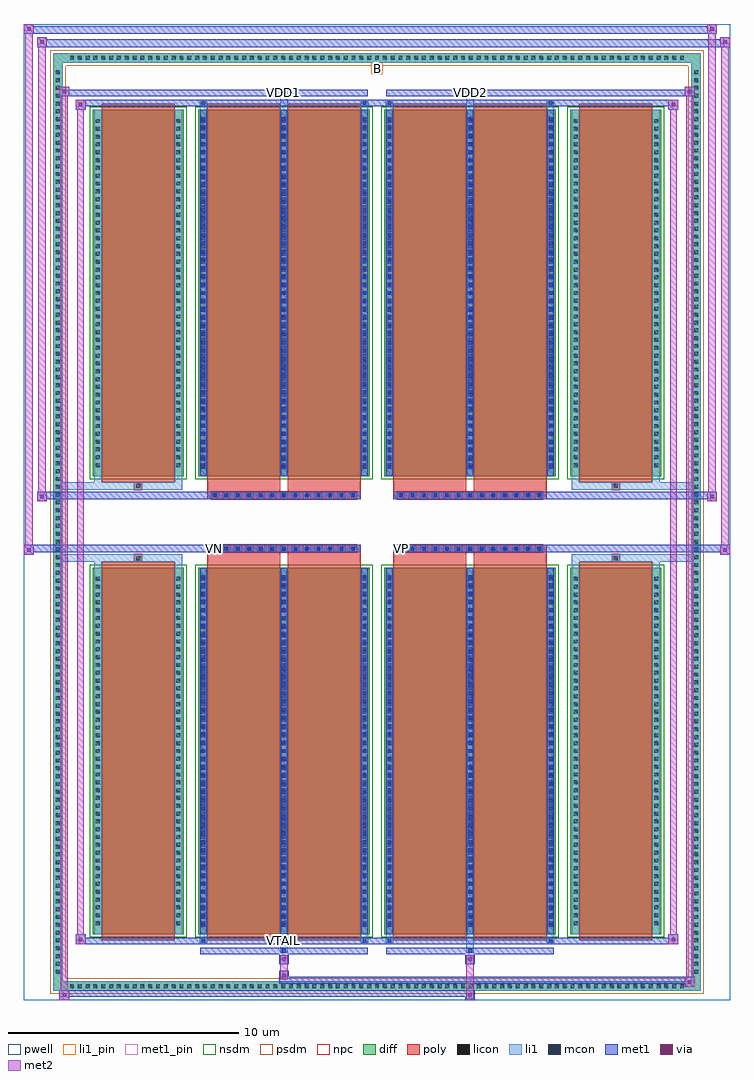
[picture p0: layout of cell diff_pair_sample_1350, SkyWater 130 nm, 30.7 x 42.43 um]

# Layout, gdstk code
import gdstk
lib = gdstk.Library(unit=1e-6, precision=5e-09)
def R(c, l, rs):  # rectangles x0, y0, x1, y1
    for r in rs: c.add(gdstk.rectangle(r[:2], r[2:], *l))
def A(c, l, x, y, w, h, nx, ny, dx, dy):  # array of equal rectangles
    R(c, l, [(x+i*dx, y+j*dy, x+i*dx+w, y+j*dy+h) for i in range(nx) for j in range(ny)])
def P(c, l, *ps):  # polygons
    for p in ps: c.add(gdstk.Polygon(p, *l))
pwell = (64, 44)
diff = (65, 20)
poly = (66, 20)
licon = (66, 44)
li1_pin = (67, 16)
li1 = (67, 20)
mcon = (67, 44)
met1_pin = (68, 16)
met1 = (68, 20)
via = (68, 44)
met2 = (69, 20)
nsdm = (93, 44)
psdm = (94, 20)
npc = (95, 20)

diff_pair_sample_1350 = lib.new_cell('diff_pair_sample_1350')
R(diff_pair_sample_1350, pwell, [(-15.35,-20.78,15.35,21.65), (-12.67,-18.97,-0.01,-0.795), (0.01,-18.97,12.67,-0.795), (-12.67,0.795,-0.01,18.97), (0.01,0.795,12.67,18.97)])
A(diff_pair_sample_1350, diff, -13.465, -20.38, 0.41, 0.41, 79, 2, 0.34, 40.35)
A(diff_pair_sample_1350, diff, -14.08, -19.755, 0.41, 0.41, 1, 116, 0, 0.34)
A(diff_pair_sample_1350, diff, 13.67, -19.755, 0.41, 0.41, 1, 116, 0, 0.34)
R(diff_pair_sample_1350, diff, [(-13.465,-20.38,13.465,-19.97), (-14.08,-19.755,-13.67,19.755), (13.67,-19.755,14.08,19.755), (-12.36,-17.925,-8.41,-1.985), (-7.77,-17.925,-0.32,-1.985), (0.32,-17.925,7.77,-1.985), (8.41,-17.925,12.36,-1.985), (-12.36,1.985,-8.41,17.925), (-7.77,1.985,-0.32,17.925), (0.32,1.985,7.77,17.925), (8.41,1.985,12.36,17.925), (-13.465,19.97,13.465,20.38)])
P(diff_pair_sample_1350, diff, [(14.08,20.38),(-14.08,20.38),(-14.08,-19.97),(-13.67,-19.97),(-13.67,19.97),(13.67,19.97),(13.67,-19.97),(-13.67,-19.97),(-14.08,-19.97),(-14.08,-20.38),(14.08,-20.38)])
A(diff_pair_sample_1350, poly, -7.21, -1.325, 0.33, 0.33, 13, 2, 0.5, 2.32)
A(diff_pair_sample_1350, poly, 0.88, -1.325, 0.33, 0.33, 13, 2, 0.5, 2.32)
R(diff_pair_sample_1350, poly, [(-11.97,-18.175,-8.8,-1.735), (-7.38,-18.175,-4.21,-1.735), (-3.88,-18.175,-0.71,-1.735), (0.71,-18.175,3.88,-1.735), (4.21,-18.175,7.38,-1.735), (8.8,-18.175,11.97,-1.735), (-10.55,-1.735,-10.22,-1.405), (-10.55,-1.735,-10.22,-1.405), (-7.38,-1.735,-4.21,-1.325), (-3.88,-1.735,-0.71,-1.325), (0.71,-1.735,3.88,-1.325), (4.21,-1.735,7.38,-1.325), (10.22,-1.735,10.55,-1.405), (10.22,-1.735,10.55,-1.405), (-7.38,-1.325,-0.71,-0.995), (0.71,-1.325,7.38,-0.995), (-7.38,0.995,-0.71,1.325), (0.71,0.995,7.38,1.325), (-7.38,1.325,-4.21,1.735), (-3.88,1.325,-0.71,1.735), (0.71,1.325,3.88,1.735), (4.21,1.325,7.38,1.735), (-10.55,1.405,-10.22,1.735), (-10.55,1.405,-10.22,1.735), (10.22,1.405,10.55,1.735), (10.22,1.405,10.55,1.735), (-11.97,1.735,-8.8,18.175), (-7.38,1.735,-4.21,18.175), (-3.88,1.735,-0.71,18.175), (0.71,1.735,3.88,18.175), (4.21,1.735,7.38,18.175), (8.8,1.735,11.97,18.175)])
A(diff_pair_sample_1350, licon, -13.345, -20.26, 0.17, 0.17, 79, 2, 0.34, 40.35)
A(diff_pair_sample_1350, licon, -13.96, -19.635, 0.17, 0.17, 1, 116, 0, 0.34)
A(diff_pair_sample_1350, licon, 13.79, -19.635, 0.17, 0.17, 1, 116, 0, 0.34)
A(diff_pair_sample_1350, licon, -12.22, -17.52, 0.17, 0.17, 1, 45, 0, 0.34)
A(diff_pair_sample_1350, licon, -8.72, -17.52, 0.17, 0.17, 1, 45, 0, 0.34)
A(diff_pair_sample_1350, licon, -7.63, -17.52, 0.17, 0.17, 3, 45, 3.5, 0.34)
A(diff_pair_sample_1350, licon, 0.46, -17.52, 0.17, 0.17, 3, 45, 3.5, 0.34)
A(diff_pair_sample_1350, licon, 8.55, -17.52, 0.17, 0.17, 1, 45, 0, 0.34)
A(diff_pair_sample_1350, licon, 12.05, -17.52, 0.17, 0.17, 1, 45, 0, 0.34)
A(diff_pair_sample_1350, licon, -7.13, -1.245, 0.17, 0.17, 13, 2, 0.5, 2.32)
A(diff_pair_sample_1350, licon, 0.96, -1.245, 0.17, 0.17, 13, 2, 0.5, 2.32)
A(diff_pair_sample_1350, licon, -12.22, 2.39, 0.17, 0.17, 1, 45, 0, 0.34)
A(diff_pair_sample_1350, licon, -8.72, 2.39, 0.17, 0.17, 1, 45, 0, 0.34)
A(diff_pair_sample_1350, licon, -7.63, 2.39, 0.17, 0.17, 3, 45, 3.5, 0.34)
A(diff_pair_sample_1350, licon, 0.46, 2.39, 0.17, 0.17, 3, 45, 3.5, 0.34)
A(diff_pair_sample_1350, licon, 8.55, 2.39, 0.17, 0.17, 1, 45, 0, 0.34)
A(diff_pair_sample_1350, licon, 12.05, 2.39, 0.17, 0.17, 1, 45, 0, 0.34)
R(diff_pair_sample_1350, licon, [(-10.47,-1.655,-10.3,-1.485), (10.3,-1.655,10.47,-1.485), (-10.47,1.485,-10.3,1.655), (10.3,1.485,10.47,1.655)])
R(diff_pair_sample_1350, li1_pin, [(-0.25,19.47,0.25,19.97)])
A(diff_pair_sample_1350, li1, -13.425, -20.34, 0.33, 0.33, 79, 2, 0.34, 40.35)
A(diff_pair_sample_1350, li1, -14.04, -19.715, 0.33, 0.33, 1, 116, 0, 0.34)
A(diff_pair_sample_1350, li1, 13.71, -19.715, 0.33, 0.33, 1, 116, 0, 0.34)
A(diff_pair_sample_1350, li1, -7.71, -17.925, 0.33, 15.94, 3, 2, 3.5, 19.91)
A(diff_pair_sample_1350, li1, 0.38, -17.925, 0.33, 15.94, 3, 2, 3.5, 19.91)
A(diff_pair_sample_1350, li1, -12.3, -17.6, 0.33, 0.33, 1, 45, 0, 0.34)
A(diff_pair_sample_1350, li1, -8.8, -17.6, 0.33, 0.33, 1, 45, 0, 0.34)
A(diff_pair_sample_1350, li1, -7.71, -17.6, 0.33, 0.33, 3, 45, 3.5, 0.34)
A(diff_pair_sample_1350, li1, -7.63, -17.6, 0.17, 0.17, 3, 43, 3.5, 0.36)
A(diff_pair_sample_1350, li1, -7.63, -17.6, 0.17, 15.29, 3, 2, 3.5, 19.91)
A(diff_pair_sample_1350, li1, 0.38, -17.6, 0.33, 0.33, 3, 45, 3.5, 0.34)
A(diff_pair_sample_1350, li1, 0.46, -17.6, 0.17, 0.17, 3, 43, 3.5, 0.36)
A(diff_pair_sample_1350, li1, 0.46, -17.6, 0.17, 15.29, 3, 2, 3.5, 19.91)
A(diff_pair_sample_1350, li1, 8.47, -17.6, 0.33, 0.33, 1, 45, 0, 0.34)
A(diff_pair_sample_1350, li1, 11.97, -17.6, 0.33, 0.33, 1, 45, 0, 0.34)
A(diff_pair_sample_1350, li1, -7.21, -1.325, 0.33, 0.33, 13, 2, 0.5, 2.32)
A(diff_pair_sample_1350, li1, 0.88, -1.325, 0.33, 0.33, 13, 2, 0.5, 2.32)
A(diff_pair_sample_1350, li1, -12.3, 2.31, 0.33, 0.33, 1, 45, 0, 0.34)
A(diff_pair_sample_1350, li1, -8.8, 2.31, 0.33, 0.33, 1, 45, 0, 0.34)
A(diff_pair_sample_1350, li1, -7.71, 2.31, 0.33, 0.33, 3, 45, 3.5, 0.34)
A(diff_pair_sample_1350, li1, -7.63, 2.31, 0.17, 0.17, 3, 43, 3.5, 0.36)
A(diff_pair_sample_1350, li1, 0.38, 2.31, 0.33, 0.33, 3, 45, 3.5, 0.34)
A(diff_pair_sample_1350, li1, 0.46, 2.31, 0.17, 0.17, 3, 43, 3.5, 0.36)
A(diff_pair_sample_1350, li1, 8.47, 2.31, 0.33, 0.33, 1, 45, 0, 0.34)
A(diff_pair_sample_1350, li1, 11.97, 2.31, 0.33, 0.33, 1, 45, 0, 0.34)
R(diff_pair_sample_1350, li1, [(-14.08,-20.38,-13.67,-19.97), (-14.08,-20.38,-13.67,-19.97), (-13.67,-20.38,13.67,-19.97), (13.67,-20.38,14.08,-19.97), (13.67,-20.38,14.08,-19.97), (-14.08,-19.97,-13.67,19.97), (13.67,-19.97,14.08,19.97), (-4.21,-18.73,-3.88,-17.925), (-4.13,-18.73,-3.96,-18.56), (3.88,-18.73,4.21,-17.925), (3.96,-18.73,4.13,-18.56), (-7.71,-18.3,-7.38,-17.925), (-7.63,-18.3,-7.46,-18.13), (-0.71,-18.3,-0.38,-17.925), (-0.63,-18.3,-0.46,-18.13), (0.38,-18.3,0.71,-17.925), (0.46,-18.3,0.63,-18.13), (7.38,-18.3,7.71,-17.925), (7.46,-18.3,7.63,-18.13), (-12.3,-17.925,-11.97,-1.985), (-8.8,-17.925,-8.47,-1.985), (8.47,-17.925,8.8,-1.985), (11.97,-17.925,12.3,-1.985), (-12.3,-1.985,-11.97,-1.405), (-8.8,-1.985,-8.47,-1.405), (8.47,-1.985,8.8,-1.405), (11.97,-1.985,12.3,-1.405), (-14.08,-1.735,-10.55,-1.405), (-12.3,-1.735,-10.55,-1.405), (-10.55,-1.735,-10.22,-1.405), (-10.22,-1.735,-8.47,-1.405), (8.47,-1.735,10.22,-1.405), (10.22,-1.735,10.55,-1.405), (10.22,-1.735,14.08,-1.405), (10.55,-1.735,12.3,-1.405), (-14.08,1.405,-10.55,1.735), (-12.3,1.405,-10.55,1.735), (-12.3,1.405,-11.97,1.985), (-10.55,1.405,-10.22,1.735), (-10.22,1.405,-8.47,1.735), (-8.8,1.405,-8.47,1.985), (8.47,1.405,10.22,1.735), (8.47,1.405,8.8,1.985), (10.22,1.405,10.55,1.735), (10.22,1.405,14.08,1.735), (10.55,1.405,12.3,1.735), (11.97,1.405,12.3,1.985), (-12.3,1.985,-11.97,17.925), (-8.8,1.985,-8.47,17.925), (8.47,1.985,8.8,17.925), (11.97,1.985,12.3,17.925), (-7.71,17.925,-7.38,18.3), (-4.21,17.925,-3.88,18.73), (-0.71,17.925,-0.38,18.3), (0.38,17.925,0.71,18.3), (3.88,17.925,4.21,18.73), (7.38,17.925,7.71,18.3), (-7.63,18.13,-7.46,18.3), (-0.63,18.13,-0.46,18.3), (0.46,18.13,0.63,18.3), (7.46,18.13,7.63,18.3), (-4.13,18.56,-3.96,18.73), (3.96,18.56,4.13,18.73), (-14.08,19.97,-13.67,20.38), (-14.08,19.97,-13.67,20.38), (-13.67,19.97,13.67,20.38), (13.67,19.97,14.08,20.38), (13.67,19.97,14.08,20.38)])
A(diff_pair_sample_1350, mcon, -7.63, -17.6, 0.17, 0.17, 3, 43, 3.5, 0.36)
A(diff_pair_sample_1350, mcon, 0.46, -17.6, 0.17, 0.17, 3, 43, 3.5, 0.36)
A(diff_pair_sample_1350, mcon, -7.13, -1.245, 0.17, 0.17, 13, 2, 0.5, 2.32)
A(diff_pair_sample_1350, mcon, 0.96, -1.245, 0.17, 0.17, 13, 2, 0.5, 2.32)
A(diff_pair_sample_1350, mcon, -7.63, 2.31, 0.17, 0.17, 3, 43, 3.5, 0.36)
A(diff_pair_sample_1350, mcon, 0.46, 2.31, 0.17, 0.17, 3, 43, 3.5, 0.36)
R(diff_pair_sample_1350, mcon, [(-4.13,-18.73,-3.96,-18.56), (3.96,-18.73,4.13,-18.56), (-7.63,-18.3,-7.46,-18.13), (-0.63,-18.3,-0.46,-18.13), (0.46,-18.3,0.63,-18.13), (7.46,-18.3,7.63,-18.13), (-7.63,18.13,-7.46,18.3), (-0.63,18.13,-0.46,18.3), (0.46,18.13,0.63,18.3), (7.46,18.13,7.63,18.3), (-4.13,18.56,-3.96,18.73), (3.96,18.56,4.13,18.73)])
R(diff_pair_sample_1350, met1_pin, [(-4.18,-18.34,-3.91,-18.07), (-7.18,-1.285,-6.91,-1.015), (0.91,-1.285,1.18,-1.015), (-4.18,18.52,-3.91,18.79), (3.91,18.52,4.18,18.79)])
A(diff_pair_sample_1350, met1, -7.69, -17.925, 0.29, 15.94, 3, 2, 3.5, 19.91)
A(diff_pair_sample_1350, met1, 0.4, -17.925, 0.29, 15.94, 3, 2, 3.5, 19.91)
A(diff_pair_sample_1350, met1, -7.69, -17.66, 0.29, 0.29, 3, 43, 3.5, 0.36)
A(diff_pair_sample_1350, met1, 0.4, -17.66, 0.29, 0.29, 3, 43, 3.5, 0.36)
A(diff_pair_sample_1350, met1, -7.19, -1.305, 0.29, 0.29, 13, 2, 0.5, 2.32)
A(diff_pair_sample_1350, met1, 0.9, -1.305, 0.29, 0.29, 13, 2, 0.5, 2.32)
A(diff_pair_sample_1350, met1, -7.69, 2.25, 0.29, 0.29, 3, 43, 3.5, 0.36)
A(diff_pair_sample_1350, met1, 0.4, 2.25, 0.29, 0.29, 3, 43, 3.5, 0.36)
R(diff_pair_sample_1350, met1, [(-13.81,-20.78,-13.38,-20.35), (3.83,-20.78,4.26,-20.35), (-13.81,-20.64,4.26,-20.35), (13.38,-20.21,13.81,-19.78), (-4.26,-20.07,13.81,-19.78), (-4.26,-19.93,-3.83,-19.5), (-4.26,-19.22,-3.83,-18.79), (3.83,-19.22,4.26,-18.79), (-7.69,-18.79,-0.4,-18.5), (-4.19,-18.79,-3.9,-18.5), (0.4,-18.79,7.69,-18.5), (3.9,-18.79,4.19,-18.5), (-13.1,-18.36,-12.67,-17.93), (-13.1,-18.36,-7.69,-18.07), (-7.69,-18.36,-7.4,-18.07), (-7.69,-18.36,-0.4,-18.07), (-0.69,-18.36,-0.4,-18.07), (-0.4,-18.36,0.4,-18.07), (0.4,-18.36,0.69,-18.07), (0.4,-18.36,7.69,-18.07), (7.4,-18.36,7.69,-18.07), (7.69,-18.36,13.1,-18.07), (12.67,-18.36,13.1,-17.93), (-15.35,-1.425,-14.92,-0.995), (14.92,-1.425,15.35,-0.995), (-15.35,-1.325,-0.71,-0.995), (-7.38,-1.325,-0.71,-0.995), (0.71,-1.325,7.38,-0.995), (0.71,-1.325,15.35,-0.995), (-14.78,0.895,-14.35,1.325), (14.35,0.895,14.78,1.325), (-14.78,0.995,-7.38,1.325), (-7.38,0.995,-0.71,1.325), (0.71,0.995,7.38,1.325), (7.38,0.995,14.78,1.325), (-13.1,17.93,-12.67,18.36), (12.67,17.93,13.1,18.36), (-13.1,18.07,-7.69,18.36), (-7.69,18.07,-7.4,18.36), (-7.69,18.07,-0.4,18.36), (-0.69,18.07,-0.4,18.36), (-0.4,18.07,0.4,18.36), (0.4,18.07,0.69,18.36), (0.4,18.07,7.69,18.36), (7.4,18.07,7.69,18.36), (7.69,18.07,13.1,18.36), (-13.81,18.5,-13.38,18.93), (-13.81,18.5,-7.69,18.79), (-7.69,18.5,-0.4,18.79), (-4.19,18.5,-3.9,18.79), (0.4,18.5,7.69,18.79), (3.9,18.5,4.19,18.79), (7.69,18.5,13.81,18.79), (13.38,18.5,13.81,18.93), (-14.78,20.65,-14.35,21.08), (-14.78,20.65,-12.67,20.98), (-12.67,20.65,12.67,20.98), (12.67,20.65,15.35,20.98), (14.92,20.65,15.35,21.08), (-15.35,21.22,-14.92,21.65), (-15.35,21.22,-12.67,21.55), (-12.67,21.22,12.67,21.55), (12.67,21.22,14.78,21.55), (14.35,21.22,14.78,21.65)])
R(diff_pair_sample_1350, via, [(-13.67,-20.64,-13.52,-20.49), (3.97,-20.64,4.12,-20.49), (13.52,-20.07,13.67,-19.92), (-4.12,-19.79,-3.97,-19.64), (-4.12,-19.08,-3.97,-18.93), (3.97,-19.08,4.12,-18.93), (-12.96,-18.22,-12.81,-18.07), (12.81,-18.22,12.96,-18.07), (-15.21,-1.285,-15.06,-1.135), (15.06,-1.285,15.21,-1.135), (-14.64,1.035,-14.49,1.185), (14.49,1.035,14.64,1.185), (-12.96,18.07,-12.81,18.22), (12.81,18.07,12.96,18.22), (-13.67,18.64,-13.52,18.79), (13.52,18.64,13.67,18.79), (-14.64,20.79,-14.49,20.94), (15.06,20.79,15.21,20.94), (-15.21,21.36,-15.06,21.51), (14.49,21.36,14.64,21.51)])
R(diff_pair_sample_1350, met2, [(-13.81,-20.78,-13.38,-20.35), (-13.74,-20.78,-13.45,18.93), (-13.45,-20.78,-13.38,-20.35), (-13.76,-20.73,-13.43,-20.4), (3.88,-20.73,4.21,-20.4), (3.88,-20.4,4.21,-19.17), (13.38,-20.21,13.81,-19.78), (13.45,-20.21,13.74,18.93), (13.74,-20.21,13.81,-19.78), (13.43,-20.16,13.76,-19.83), (-4.21,-19.88,-3.88,-19.55), (-4.21,-19.55,-3.88,-19.17), (-4.21,-19.17,-3.88,-18.84), (3.88,-19.17,4.21,-18.84), (-13.1,-18.36,-12.67,-17.93), (-13.03,-18.36,-12.74,18.36), (-12.74,-18.36,-12.67,-17.93), (12.67,-18.36,13.1,-17.93), (12.74,-18.36,13.03,18.36), (13.03,-18.36,13.1,-17.93), (-13.05,-18.31,-12.72,-17.98), (12.72,-18.31,13.05,-17.98), (-15.35,-1.425,-14.92,-0.995), (-15.3,-1.425,-14.97,21.65), (-14.97,-1.425,-14.92,-0.995), (14.92,-1.425,15.35,-0.995), (14.97,-1.425,15.3,21.08), (15.3,-1.425,15.35,-0.995), (-15.3,-1.375,-14.97,-1.045), (14.97,-1.375,15.3,-1.045), (-14.78,0.895,-14.35,1.325), (-14.73,0.895,-14.4,21.08), (-14.4,0.895,-14.35,1.325), (14.35,0.895,14.78,1.325), (14.4,0.895,14.73,21.65), (14.73,0.895,14.78,1.325), (-14.73,0.945,-14.4,1.275), (14.4,0.945,14.73,1.275), (-13.1,17.93,-12.67,18.36), (-12.74,17.93,-12.67,18.36), (12.67,17.93,13.1,18.36), (13.03,17.93,13.1,18.36), (-13.05,17.98,-12.72,18.31), (12.72,17.98,13.05,18.31), (-13.81,18.5,-13.38,18.93), (-13.45,18.5,-13.38,18.93), (13.38,18.5,13.81,18.93), (13.74,18.5,13.81,18.93), (-13.76,18.55,-13.43,18.88), (13.43,18.55,13.76,18.88), (-14.78,20.65,-14.35,21.08), (-14.4,20.65,-14.35,21.08), (14.92,20.65,15.35,21.08), (15.3,20.65,15.35,21.08), (-14.73,20.7,-14.4,21.03), (14.97,20.7,15.3,21.03), (-15.35,21.22,-14.92,21.65), (-14.97,21.22,-14.92,21.65), (14.35,21.22,14.78,21.65), (14.73,21.22,14.78,21.65), (-15.3,21.27,-14.97,21.6), (14.4,21.27,14.73,21.6)])
R(diff_pair_sample_1350, nsdm, [(-12.49,-18.055,-8.28,-1.855), (-7.9,-18.055,-0.19,-1.855), (0.19,-18.055,7.9,-1.855), (8.28,-18.055,12.49,-1.855), (-12.49,1.855,-8.28,18.055), (-7.9,1.855,-0.19,18.055), (0.19,1.855,7.9,18.055), (8.28,1.855,12.49,18.055)])
P(diff_pair_sample_1350, psdm, [(14.21,20.51),(-14.21,20.51),(-14.21,-19.84),(-13.54,-19.84),(-13.54,19.84),(13.54,19.84),(13.54,-19.84),(-13.54,-19.84),(-14.21,-19.84),(-14.21,-20.51),(14.21,-20.51)])
A(diff_pair_sample_1350, npc, -7.23, -1.345, 0.37, 0.37, 13, 2, 0.5, 2.32)
A(diff_pair_sample_1350, npc, 0.86, -1.345, 0.37, 0.37, 13, 2, 0.5, 2.32)
R(diff_pair_sample_1350, npc, [(-10.57,-1.755,-10.2,-1.385), (10.2,-1.755,10.57,-1.385), (-7.23,-1.345,-6.36,-0.975), (-7.23,-1.345,-6.36,-0.975), (-6.73,-1.345,-5.86,-0.975), (-6.73,-1.345,-5.86,-0.975), (-6.23,-1.345,-5.36,-0.975), (-6.23,-1.345,-5.36,-0.975), (-5.73,-1.345,-4.86,-0.975), (-5.73,-1.345,-4.86,-0.975), (-5.23,-1.345,-4.36,-0.975), (-5.23,-1.345,-4.36,-0.975), (-4.73,-1.345,-3.86,-0.975), (-4.73,-1.345,-3.86,-0.975), (-4.23,-1.345,-3.36,-0.975), (-4.23,-1.345,-3.36,-0.975), (-3.73,-1.345,-2.86,-0.975), (-3.73,-1.345,-2.86,-0.975), (-3.23,-1.345,-2.36,-0.975), (-3.23,-1.345,-2.36,-0.975), (-2.73,-1.345,-1.86,-0.975), (-2.73,-1.345,-1.86,-0.975), (-2.23,-1.345,-1.36,-0.975), (-2.23,-1.345,-1.36,-0.975), (-1.73,-1.345,-0.86,-0.975), (-1.73,-1.345,-0.86,-0.975), (0.86,-1.345,1.73,-0.975), (0.86,-1.345,1.73,-0.975), (1.36,-1.345,2.23,-0.975), (1.36,-1.345,2.23,-0.975), (1.86,-1.345,2.73,-0.975), (1.86,-1.345,2.73,-0.975), (2.36,-1.345,3.23,-0.975), (2.36,-1.345,3.23,-0.975), (2.86,-1.345,3.73,-0.975), (2.86,-1.345,3.73,-0.975), (3.36,-1.345,4.23,-0.975), (3.36,-1.345,4.23,-0.975), (3.86,-1.345,4.73,-0.975), (3.86,-1.345,4.73,-0.975), (4.36,-1.345,5.23,-0.975), (4.36,-1.345,5.23,-0.975), (4.86,-1.345,5.73,-0.975), (4.86,-1.345,5.73,-0.975), (5.36,-1.345,6.23,-0.975), (5.36,-1.345,6.23,-0.975), (5.86,-1.345,6.73,-0.975), (5.86,-1.345,6.73,-0.975), (6.36,-1.345,7.23,-0.975), (6.36,-1.345,7.23,-0.975), (-7.23,0.975,-6.36,1.345), (-7.23,0.975,-6.36,1.345), (-6.73,0.975,-5.86,1.345), (-6.73,0.975,-5.86,1.345), (-6.23,0.975,-5.36,1.345), (-6.23,0.975,-5.36,1.345), (-5.73,0.975,-4.86,1.345), (-5.73,0.975,-4.86,1.345), (-5.23,0.975,-4.36,1.345), (-5.23,0.975,-4.36,1.345), (-4.73,0.975,-3.86,1.345), (-4.73,0.975,-3.86,1.345), (-4.23,0.975,-3.36,1.345), (-4.23,0.975,-3.36,1.345), (-3.73,0.975,-2.86,1.345), (-3.73,0.975,-2.86,1.345), (-3.23,0.975,-2.36,1.345), (-3.23,0.975,-2.36,1.345), (-2.73,0.975,-1.86,1.345), (-2.73,0.975,-1.86,1.345), (-2.23,0.975,-1.36,1.345), (-2.23,0.975,-1.36,1.345), (-1.73,0.975,-0.86,1.345), (-1.73,0.975,-0.86,1.345), (0.86,0.975,1.73,1.345), (0.86,0.975,1.73,1.345), (1.36,0.975,2.23,1.345), (1.36,0.975,2.23,1.345), (1.86,0.975,2.73,1.345), (1.86,0.975,2.73,1.345), (2.36,0.975,3.23,1.345), (2.36,0.975,3.23,1.345), (2.86,0.975,3.73,1.345), (2.86,0.975,3.73,1.345), (3.36,0.975,4.23,1.345), (3.36,0.975,4.23,1.345), (3.86,0.975,4.73,1.345), (3.86,0.975,4.73,1.345), (4.36,0.975,5.23,1.345), (4.36,0.975,5.23,1.345), (4.86,0.975,5.73,1.345), (4.86,0.975,5.73,1.345), (5.36,0.975,6.23,1.345), (5.36,0.975,6.23,1.345), (5.86,0.975,6.73,1.345), (5.86,0.975,6.73,1.345), (6.36,0.975,7.23,1.345), (6.36,0.975,7.23,1.345), (-10.57,1.385,-10.2,1.755), (10.2,1.385,10.57,1.755)])
diff_pair_sample_1350.add(gdstk.Label('VTAIL', (-4.045,-18.205), layer=68, texttype=5))
diff_pair_sample_1350.add(gdstk.Label('VN', (-7.045,-1.15), layer=68, texttype=5))
diff_pair_sample_1350.add(gdstk.Label('VP', (1.045,-1.15), layer=68, texttype=5))
diff_pair_sample_1350.add(gdstk.Label('B', (0,19.72), layer=67, texttype=5))
diff_pair_sample_1350.add(gdstk.Label('VDD2', (4.045,18.655), layer=68, texttype=5))
diff_pair_sample_1350.add(gdstk.Label('VDD1', (-4.045,18.655), layer=68, texttype=5))

lib.write_gds('diff_pair_sample_1350.gds')
